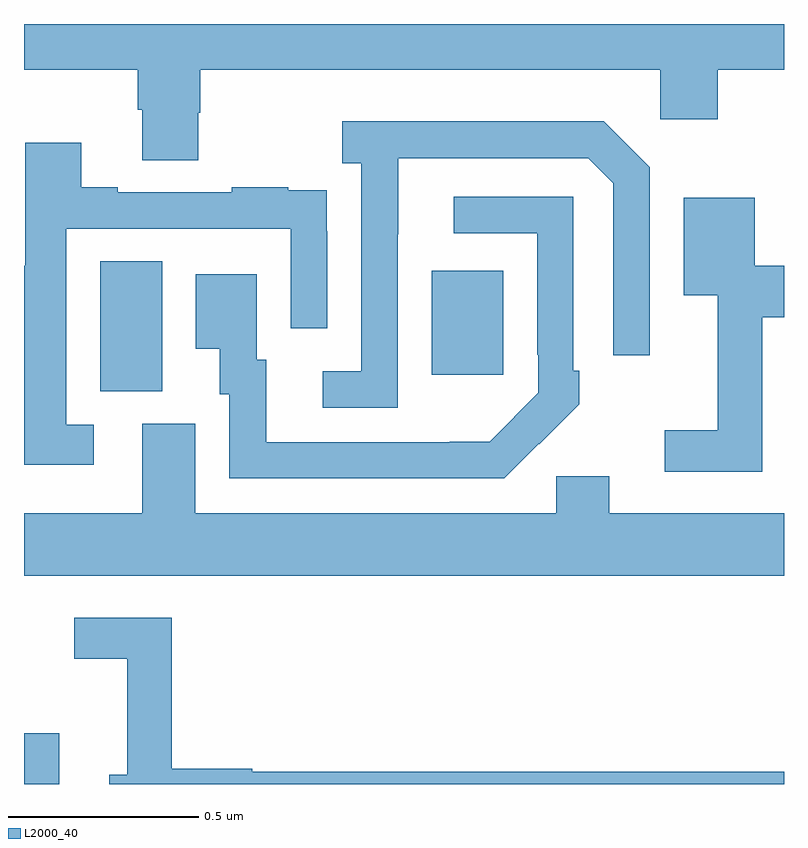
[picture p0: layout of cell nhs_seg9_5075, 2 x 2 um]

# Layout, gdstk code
import gdstk
lib = gdstk.Library(unit=1e-6, precision=1e-09)
def R(c, l, rs):  # rectangles x0, y0, x1, y1
    for r in rs: c.add(gdstk.rectangle(r[:2], r[2:], *l))
def P(c, l, *ps):  # polygons
    for p in ps: c.add(gdstk.Polygon(p, *l))
L2000_40 = (2000, 40)

nhs_seg9_5075 = lib.new_cell('nhs_seg9_5075')
R(nhs_seg9_5075, L2000_40, [(174,1234.5,174.093,1234.633), (174.2,1235.533,174.364,1235.876), (175.073,1235.577,175.261,1235.851)])
P(nhs_seg9_5075, L2000_40, [(174.459,1236.267),(174.464,1236.267),(174.464,1236.38),(175.674,1236.38),(175.674,1236.249),(175.826,1236.249),(175.826,1236.38),(176,1236.38),(176,1236.5),(174,1236.5),(174,1236.38),(174.299,1236.38),(174.299,1236.274),(174.311,1236.274),(174.311,1236.142),(174.459,1236.142)],
  [(174.984,1235.947),(174.985,1235.947),(174.985,1236.147),(175.485,1236.147),(175.551,1236.081),(175.551,1235.628),(175.647,1235.628),(175.647,1236.123),(175.526,1236.244),(174.837,1236.244),(174.837,1236.134),(174.888,1236.134),(174.888,1235.586),(174.786,1235.586),(174.786,1235.49),(174.984,1235.49)],
  [(174.184,1235.445),(174.111,1235.445),(174.111,1235.961),(174.702,1235.961),(174.702,1235.7),(174.798,1235.7),(174.798,1235.954),(174.797,1235.954),(174.797,1236.063),(174.695,1236.063),(174.695,1236.07),(174.547,1236.07),(174.547,1236.057),(174.247,1236.057),(174.247,1236.07),(174.151,1236.07),(174.151,1236.187),(174.003,1236.187),(174.003,1235.864),(174,1235.864),(174,1235.34),(174.184,1235.34)],
  [(175.355,1235.395),(175.356,1235.394),(175.461,1235.499),(175.461,1235.587),(175.446,1235.587),(175.446,1236.045),(175.131,1236.045),(175.131,1235.949),(175.35,1235.949),(175.35,1235.629),(175.353,1235.629),(175.353,1235.529),(175.225,1235.401),(175.121,1235.401),(175.121,1235.4),(174.637,1235.4),(174.637,1235.616),(174.613,1235.616),(174.613,1235.842),(174.452,1235.842),(174.452,1235.645),(174.515,1235.645),(174.515,1235.526),(174.54,1235.526),(174.54,1235.304),(175.264,1235.304)],
  [(175.943,1235.728),(176,1235.728),(176,1235.864),(175.923,1235.864),(175.923,1236.043),(175.736,1236.043),(175.736,1235.786),(175.826,1235.786),(175.826,1235.431),(175.686,1235.431),(175.686,1235.322),(175.943,1235.322)],
  [(176,1235.212),(175.54,1235.212),(175.54,1235.31),(175.401,1235.31),(175.401,1235.212),(174.451,1235.212),(174.451,1235.448),(174.311,1235.448),(174.311,1235.212),(174,1235.212),(174,1235.048),(176,1235.048)],
  [(176,1234.532),(174.6,1234.532),(174.6,1234.54),(174.389,1234.54),(174.389,1234.938),(174.132,1234.938),(174.132,1234.83),(174.272,1234.83),(174.272,1234.525),(174.224,1234.525),(174.224,1234.5),(176,1234.5)])

lib.write_gds('nhs_seg9_5075.gds')
